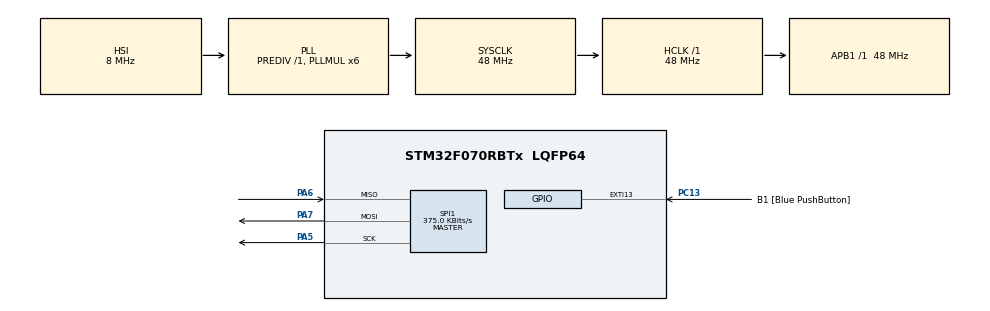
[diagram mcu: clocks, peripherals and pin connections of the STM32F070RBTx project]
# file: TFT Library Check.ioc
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Mcu.Family=STM32F0
Mcu.Name=STM32F070RBTx
Mcu.Package=LQFP64
PA13.GPIO_Label=TMS
PA13.Mode=Serial_Wire
PA13.Signal=SYS_SWDIO
PA14.GPIO_Label=TCK
PA14.Mode=Serial_Wire
PA14.Signal=SYS_SWCLK
PA5.Mode=Full_Duplex_Master
PA5.Signal=SPI1_SCK
PA6.Mode=Full_Duplex_Master
PA6.Signal=SPI1_MISO
PA7.Mode=Full_Duplex_Master
PA7.Signal=SPI1_MOSI
PC13.GPIO_Label=B1 [Blue PushButton]
PC13.GPIO_ModeDefaultEXTI=GPIO_MODE_IT_FALLING
PC13.Signal=GPXTI13
PC14-OSC32_IN.GPIO_Label=RCC_OSC32_IN
PC14-OSC32_IN.Mode=LSE-External-Oscillator
PC14-OSC32_IN.Signal=RCC_OSC32_IN
PC15-OSC32_OUT.GPIO_Label=RCC_OSC32_OUT
PC15-OSC32_OUT.Mode=LSE-External-Oscillator
PC15-OSC32_OUT.Signal=RCC_OSC32_OUT
PF0-OSC_IN.GPIO_Label=RCC_OSC_IN
PF0-OSC_IN.Mode=HSE-External-Clock-Source
PF0-OSC_IN.Signal=RCC_OSC_IN
PF1-OSC_OUT.GPIO_Label=RCC_OSC_OUT
PF1-OSC_OUT.Signal=RCC_OSC_OUT
ProjectManager.HeapSize=0x200
ProjectManager.StackSize=0x400
ProjectManager.TargetToolchain=STM32CubeIDE
RCC.AHBFreq_Value=48000000
RCC.APB1Freq_Value=48000000
RCC.APB1TimFreq_Value=48000000
RCC.HCLKFreq_Value=48000000
RCC.PLLMUL=RCC_PLL_MUL6
RCC.SYSCLKFreq_VALUE=48000000
RCC.SYSCLKSource=RCC_SYSCLKSOURCE_PLLCLK
SPI1.BaudRatePrescaler=SPI_BAUDRATEPRESCALER_128
SPI1.CalculateBaudRate=375.0 KBits/s
SPI1.DataSize=SPI_DATASIZE_8BIT
SPI1.Direction=SPI_DIRECTION_2LINES
SPI1.Mode=SPI_MODE_MASTER
SPI1.VirtualType=VM_MASTER
VP_FATFS_VS_Generic.Mode=User_defined
board=NUCLEO-F070RB

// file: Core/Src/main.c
/* USER CODE BEGIN Header */
/* USER CODE END Header */
#include "main.h"
#include "fatfs.h"

/* USER CODE BEGIN Includes */
#include "BML_DRIVER.h"
#include "st7783.h"
#include <stdbool.h>
#include "graphics.h"
#include "SDCard.h"
/* USER CODE END Includes */

SPI_HandleTypeDef hspi1;

void SystemClock_Config(void);
static void MX_GPIO_Init(void);
static void MX_SPI1_Init(void);

int main(void) {

	/* MCU Configuration--------------------------------------------------------*/

	/* Reset of all peripherals, Initializes the Flash interface and the Systick. */
	HAL_Init();

	/* USER CODE BEGIN Init */
	RCC_CONFIG_48MHZ();
	uart_print_config(9600);
	print("Working\n");
	/* USER CODE END Init */

	/* Configure the system clock */
//  SystemClock_Config();

	/* Initialize all configured peripherals */
	MX_GPIO_Init();
	MX_SPI1_Init();
	MX_FATFS_Init();
	/* USER CODE BEGIN 2 */
	gpio_write(PORTB, 6, LOW);

//	//some variables for FatFs
//	FATFS FatFs; 	//Fatfs handle
//	FIL fil; 		//File handle
//	FRESULT fres; //Result after operations
//
//	//Open the file system
//	fres = f_mount(&FatFs, "", 1); //1=mount now
//	if (fres != FR_OK) {
//		myprintf("f_mount error (%i)\r\n", fres);
//		while (1)
//			;
//	}
//
//	//Let's get some statistics from the SD card
//	DWORD free_clusters, free_sectors, total_sectors;
//
//	FATFS *getFreeFs;
//
//	fres = f_getfree("", &free_clusters, &getFreeFs);
//	if (fres != FR_OK) {
//		myprintf("f_getfree error (%i)\r\n", fres);
//		while (1)
//			;
//	}

	sd_mount();
	HAL_Delay(500);
	sd_space();
//
//	getBMPImageData("wifi.bmp");

	LCD_Begin();
	LCD_SetRotation(0);
	LCD_FillScreen(BLACK);

	displayPic24bit("woof.bmp", 0, 0);
	displayPic32bit("kitchen.bmp", 0, 0);
	displayPic24bit("test.bmp", 0, 0);

	LCD_FillScreen(BLACK);
	displayPic32bit("moonfull.bmp", 0, 0);

	LCD_FillScreen(WHITE);

	displayPic24bit("Heart.bmp", 0, 0);
	displayPic24bit("Temp.bmp", 120, 0);
	displayPic24bit("T24s1.bmp", 0, 150);
	displayPic32bit("moon.bmp", 120, 150);

	sd_deMount();

	uint8_t len = 0;

	/* USER CODE END 2 */

	/* Infinite loop */
	while (1) {
	}
}

void SystemClock_Config(void) {
	RCC_OscInitTypeDef RCC_OscInitStruct = { 0 };
	RCC_ClkInitTypeDef RCC_ClkInitStruct = { 0 };

	/** Initializes the RCC Oscillators according to the specified parameters
	 * in the RCC_OscInitTypeDef structure.
	 */
	RCC_OscInitStruct.OscillatorType = RCC_OSCILLATORTYPE_HSI;
	RCC_OscInitStruct.HSIState = RCC_HSI_ON;
	RCC_OscInitStruct.HSICalibrationValue = RCC_HSICALIBRATION_DEFAULT;
	RCC_OscInitStruct.PLL.PLLState = RCC_PLL_ON;
	RCC_OscInitStruct.PLL.PLLSource = RCC_PLLSOURCE_HSI;
	RCC_OscInitStruct.PLL.PLLMUL = RCC_PLL_MUL6;
	RCC_OscInitStruct.PLL.PREDIV = RCC_PREDIV_DIV1;
	if (HAL_RCC_OscConfig(&RCC_OscInitStruct) != HAL_OK) {
		Error_Handler();
	}

	/** Initializes the CPU, AHB and APB buses clocks
	 */
	RCC_ClkInitStruct.ClockType = RCC_CLOCKTYPE_HCLK | RCC_CLOCKTYPE_SYSCLK
			| RCC_CLOCKTYPE_PCLK1;
	RCC_ClkInitStruct.SYSCLKSource = RCC_SYSCLKSOURCE_PLLCLK;
	RCC_ClkInitStruct.AHBCLKDivider = RCC_SYSCLK_DIV1;
	RCC_ClkInitStruct.APB1CLKDivider = RCC_HCLK_DIV1;

	if (HAL_RCC_ClockConfig(&RCC_ClkInitStruct, FLASH_LATENCY_1) != HAL_OK) {
		Error_Handler();
	}
}

static void MX_SPI1_Init(void) {

	/* SPI1 parameter configuration*/
	hspi1.Instance = SPI1;
	hspi1.Init.Mode = SPI_MODE_MASTER;
	hspi1.Init.Direction = SPI_DIRECTION_2LINES;
	hspi1.Init.DataSize = SPI_DATASIZE_8BIT;
	hspi1.Init.CLKPolarity = SPI_POLARITY_LOW;
	hspi1.Init.CLKPhase = SPI_PHASE_1EDGE;
	hspi1.Init.NSS = SPI_NSS_SOFT;
	hspi1.Init.BaudRatePrescaler = SPI_BAUDRATEPRESCALER_128;
	hspi1.Init.FirstBit = SPI_FIRSTBIT_MSB;
	hspi1.Init.TIMode = SPI_TIMODE_DISABLE;
	hspi1.Init.CRCCalculation = SPI_CRCCALCULATION_DISABLE;
	hspi1.Init.CRCPolynomial = 7;
	hspi1.Init.CRCLength = SPI_CRC_LENGTH_DATASIZE;
	hspi1.Init.NSSPMode = SPI_NSS_PULSE_ENABLE;
	if (HAL_SPI_Init(&hspi1) != HAL_OK) {
		Error_Handler();
	}

}

static void MX_GPIO_Init(void) {
	GPIO_InitTypeDef GPIO_InitStruct = { 0 };

	/* GPIO Ports Clock Enable */
	__HAL_RCC_GPIOC_CLK_ENABLE();
	__HAL_RCC_GPIOF_CLK_ENABLE();
	__HAL_RCC_GPIOA_CLK_ENABLE();

	/*Configure GPIO pin : B1_Pin */
	GPIO_InitStruct.Pin = B1_Pin;
	GPIO_InitStruct.Mode = GPIO_MODE_IT_FALLING;
	GPIO_InitStruct.Pull = GPIO_NOPULL;
	HAL_GPIO_Init(B1_GPIO_Port, &GPIO_InitStruct);

	gpio_config(SD_CS_GPIO_Port, SD_CS_Pin, OUTPUT_MODE, HIGH_SPEED, DI_PUPD,
	PHPL);

}

void Error_Handler(void) {
}
